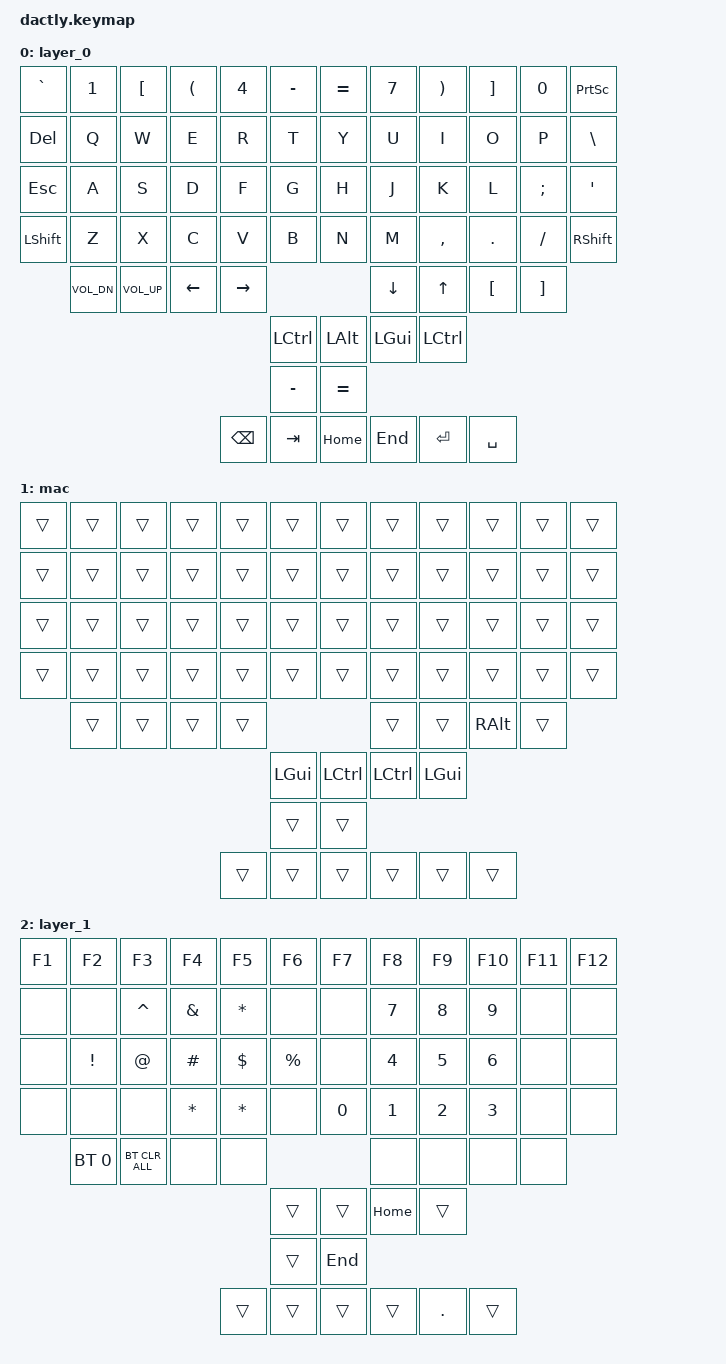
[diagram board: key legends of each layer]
/*
 * Copyright (c) 2022 The ZMK Contributors
 *
 * SPDX-License-Identifier: MIT
 */

#include <behaviors.dtsi>
#include <dt-bindings/zmk/bt.h>
#include <dt-bindings/zmk/keys.h>

/ {
    combos {
        compatible = "zmk,combos";

        switch-mac-windows {
            bindings = <&tog 1>;
            key-positions = <63 49>;
            layers = <0 1>;
        };

        number {
            bindings = <&mo 2>;
            key-positions = <28 27 26>;
        };

        sym {
            bindings = <&mo 2>;
            key-positions = <31 32 33>;
        };
    };

    keymap {
        compatible = "zmk,keymap";

        layer_0 {
            bindings = <
&kp GRAVE  &kp N1        &kp LBKT      &kp LEFT_PARENTHESIS  &kp N4     &kp MINUS               &kp EQUAL  &kp N7     &kp RIGHT_PARENTHESIS  &kp RBKT          &kp N0             &kp PRINTSCREEN
&kp DEL    &kp Q         &kp W         &kp E                 &kp R      &kp T                   &kp Y      &kp U      &kp I                  &kp O             &kp P              &kp BSLH
&kp ESC    &kp A         &kp S         &kp D                 &kp F      &kp G                   &kp H      &kp J      &kp K                  &kp L             &kp SEMI           &kp APOS
&kp LSHFT  &kp Z         &kp X         &kp C                 &kp V      &kp B                   &kp N      &kp M      &kp COMMA              &kp DOT           &kp FSLH           &kp RSHFT
           &kp C_VOL_DN  &kp C_VOL_UP  &kp LEFT              &kp RIGHT                                     &kp DOWN   &kp UP                 &kp LEFT_BRACKET  &kp RIGHT_BRACKET
                                                                        &kp LCTRL  &kp LALT     &kp LGUI   &kp LCTRL
                                                                                   &kp MINUS    &kp EQUAL
                                                             &kp BSPC   &kp TAB    &kp HOME     &kp END    &kp ENTER  &kp SPACE
            >;
        };

        mac {
            bindings = <
&trans  &trans  &trans  &trans  &trans  &trans                 &trans     &trans    &trans  &trans         &trans  &trans
&trans  &trans  &trans  &trans  &trans  &trans                 &trans     &trans    &trans  &trans         &trans  &trans
&trans  &trans  &trans  &trans  &trans  &trans                 &trans     &trans    &trans  &trans         &trans  &trans
&trans  &trans  &trans  &trans  &trans  &trans                 &trans     &trans    &trans  &trans         &trans  &trans
        &trans  &trans  &trans  &trans                                    &trans    &trans  &kp RIGHT_ALT  &trans
                                        &kp LGUI  &kp LCTRL    &kp LCTRL  &kp LGUI
                                                  &trans       &trans
                                &trans  &trans    &trans       &trans     &trans    &trans
            >;
        };

        layer_1 {
            bindings = <
&kp F1  &kp F2           &kp F3          &kp F4         &kp F5        &kp F6                 &kp F7    &kp F8      &kp F9  &kp F10  &kp F11  &kp F12
&none   &none            &kp CARET       &kp AMPERSAND  &kp ASTERISK  &none                  &none     &kp N7      &kp N8  &kp N9   &none    &none
&none   &kp EXCLAMATION  &kp AT_SIGN     &kp HASH       &kp DOLLAR    &kp PERCENT            &none     &kp N4      &kp N5  &kp N6   &none    &none
&none   &none            &none           &kp ASTERISK   &kp ASTERISK  &none                  &kp N0    &kp N1      &kp N2  &kp N3   &none    &none
        &bt BT_SEL 0     &bt BT_CLR_ALL  &none          &none                                          &none       &none   &none    &none
                                                                      &trans       &trans    &kp HOME  &trans
                                                                                   &trans    &kp END
                                                        &trans        &trans       &trans    &trans    &kp PERIOD  &trans
            >;
        };
    };
};
